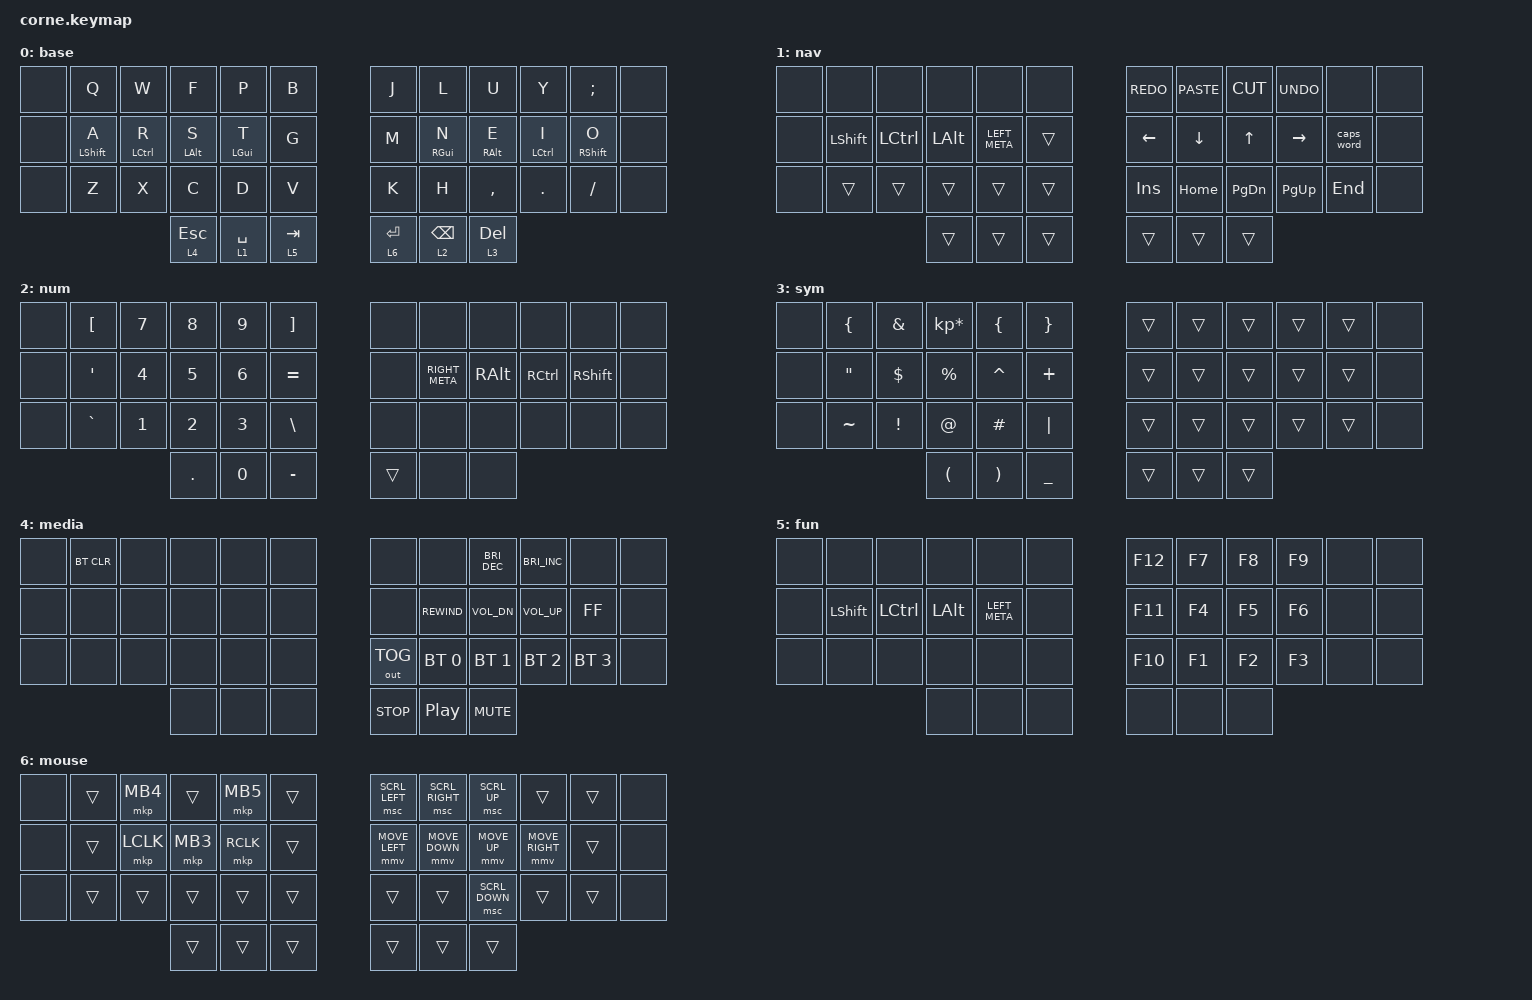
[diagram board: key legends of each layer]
/*
 * Copyright (c) 2020 The ZMK Contributors
 *
 * SPDX-License-Identifier: MIT
 */

#define ZMK_POINTING_DEFAULT_MOVE_VAL 1500  // default: 600
#define ZMK_POINTING_DEFAULT_SCRL_VAL 20    // default: 10

#include <behaviors.dtsi>
#include <dt-bindings/zmk/bt.h>
#include <dt-bindings/zmk/keys.h>
#include <dt-bindings/zmk/outputs.h>
#include <dt-bindings/zmk/pointing.h>

// Key positions (6-col Corne):
//  0  1  2  3  4  5        6  7  8  9 10 11
// 12 13 14 15 16 17       18 19 20 21 22 23
// 24 25 26 27 28 29       30 31 32 33 34 35
//            36 37 38  39 40 41
#define KEYS_L 0 1 2 3 4 5 12 13 14 15 16 17 24 25 26 27 28 29
#define KEYS_R 6 7 8 9 10 11 18 19 20 21 22 23 30 31 32 33 34 35
#define THUMBS 36 37 38 39 40 41

/ {
    behaviors {
        hml: homerow_mods_left {
            compatible = "zmk,behavior-hold-tap";
            #binding-cells = <2>;
            bindings = <&kp>, <&kp>;
            tapping-term-ms = <280>;
            require-prior-idle-ms = <150>;
            flavor = "balanced";
            quick-tap-ms = <175>;
            hold-trigger-key-positions = <KEYS_R THUMBS>;
            hold-trigger-on-release;
        };

        hmr: homerow_mods_right {
            compatible = "zmk,behavior-hold-tap";
            #binding-cells = <2>;
            bindings = <&kp>, <&kp>;
            tapping-term-ms = <280>;
            require-prior-idle-ms = <150>;
            flavor = "balanced";
            quick-tap-ms = <175>;
            hold-trigger-key-positions = <KEYS_L THUMBS>;
            hold-trigger-on-release;
        };
    };

    keymap {
        compatible = "zmk,keymap";

        colebase {
            bindings = <
  &none  &kp Q         &kp W         &kp F        &kp P        &kp B        &kp J        &kp L            &kp U         &kp Y         &kp SEMI      &none
  &none  &hml LSHFT A  &hml LCTRL R  &hml LALT S  &hml LGUI T  &kp G        &kp M        &hmr RGUI N      &hmr RALT E   &hmr LCTRL I  &hmr RSHFT O  &none
  &none  &kp Z         &kp X         &kp C        &kp D        &kp V        &kp K        &kp H            &kp COMMA     &kp DOT       &kp FSLH      &none
                                     &lt 4 ESC    &lt 1 SPACE  &lt 5 TAB    &lt 6 ENTER  &lt 2 BACKSPACE  &lt 3 DELETE
            >;

            label = "base";
        };

        nav {
            display-name = "nav";
            bindings = <
  &none  &none           &none      &none         &none          &none     &kp K_REDO  &kp K_PASTE  &kp K_CUT  &kp K_UNDO  &none       &none
  &none  &kp LEFT_SHIFT  &kp LCTRL  &kp LEFT_ALT  &kp LEFT_META  &trans    &kp LEFT    &kp DOWN     &kp UP     &kp RIGHT   &caps_word  &none
  &none  &trans          &trans     &trans        &trans         &trans    &kp INS     &kp HOME     &kp PG_DN  &kp PG_UP   &kp END     &none
                                    &trans        &trans         &trans    &trans      &trans       &trans
            >;
        };

        num {
            display-name = "num";
            bindings = <
  &none  &kp LEFT_BRACKET  &kp N7        &kp N8        &kp N9        &kp RIGHT_BRACKET    &none   &none           &none          &none      &none            &none
  &none  &kp SINGLE_QUOTE  &kp NUMBER_4  &kp N5        &kp NUMBER_6  &kp EQUAL            &none   &kp RIGHT_META  &kp RIGHT_ALT  &kp RCTRL  &kp RIGHT_SHIFT  &none
  &none  &kp GRAVE         &kp NUMBER_1  &kp NUMBER_2  &kp NUMBER_3  &kp BACKSLASH        &none   &none           &none          &none      &none            &none
                                         &kp PERIOD    &kp N0        &kp MINUS            &trans  &none           &none
            >;
        };

        sym {
            bindings = <
  &none  &kp LEFT_BRACE     &kp AMPS    &kp KP_MULTIPLY       &kp LEFT_BRACE  &kp RBRC     &trans  &trans  &trans  &trans  &trans  &none
  &none  &kp DOUBLE_QUOTES  &kp DOLLAR  &kp PERCENT           &kp CARET       &kp PLUS     &trans  &trans  &trans  &trans  &trans  &none
  &none  &kp TILDE          &kp EXCL    &kp AT                &kp HASH        &kp PIPE     &trans  &trans  &trans  &trans  &trans  &none
                                        &kp LEFT_PARENTHESIS  &kp RPAR        &kp UNDER    &trans  &trans  &trans
            >;

            label = "sym";
        };

        media {
            bindings = <
  &none  &bt BT_CLR  &none  &none  &none  &none    &none         &none             &kp C_BRIGHTNESS_DEC  &kp C_BRIGHTNESS_INC  &none         &none
  &none  &none       &none  &none  &none  &none    &none         &kp C_REWIND      &kp C_VOL_DN          &kp C_VOL_UP          &kp C_FF      &none
  &none  &none       &none  &none  &none  &none    &out OUT_TOG  &bt BT_SEL 0      &bt BT_SEL 1          &bt BT_SEL 2          &bt BT_SEL 3  &none
                            &none  &none  &none    &kp K_STOP    &kp C_PLAY_PAUSE  &kp K_MUTE
            >;

            label = "media";
        };

        fun {
            bindings = <
  &none  &none      &none      &none     &none          &none    &kp F12  &kp F7  &kp F8  &kp F9  &none  &none
  &none  &kp LSHFT  &kp LCTRL  &kp LALT  &kp LEFT_META  &none    &kp F11  &kp F4  &kp F5  &kp F6  &none  &none
  &none  &none      &none      &none     &none          &none    &kp F10  &kp F1  &kp F2  &kp F3  &none  &none
                               &none     &none          &none    &none    &none   &none
            >;

            label = "fun";
        };

        mouse {
            bindings = <
  &none  &trans  &mkp MB4   &trans    &mkp MB5   &trans    &msc SCRL_LEFT  &msc SCRL_RIGHT  &msc SCRL_UP    &trans           &trans  &none
  &none  &trans  &mkp LCLK  &mkp MB3  &mkp RCLK  &trans    &mmv MOVE_LEFT  &mmv MOVE_DOWN   &mmv MOVE_UP    &mmv MOVE_RIGHT  &trans  &none
  &none  &trans  &trans     &trans    &trans     &trans    &trans          &trans           &msc SCRL_DOWN  &trans           &trans  &none
                            &trans    &trans     &trans    &trans          &trans           &trans
            >;
        };
    };
};
